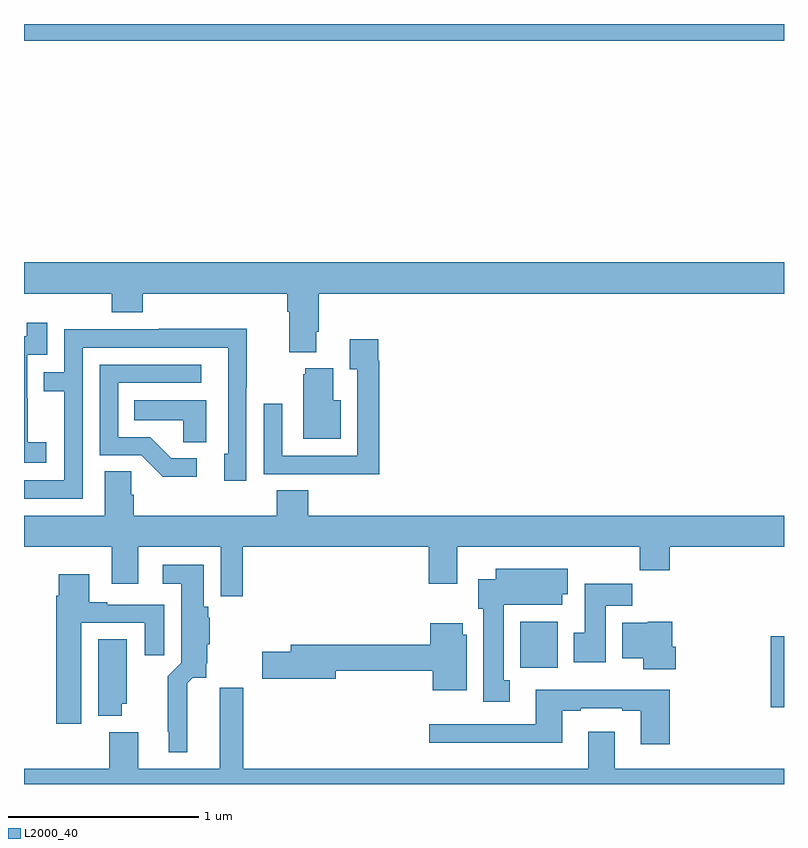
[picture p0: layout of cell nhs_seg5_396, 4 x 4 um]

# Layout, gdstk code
import gdstk
lib = gdstk.Library(unit=1e-6, precision=1e-09)
def R(c, l, rs):  # rectangles x0, y0, x1, y1
    for r in rs: c.add(gdstk.rectangle(r[:2], r[2:], *l))
def P(c, l, *ps):  # polygons
    for p in ps: c.add(gdstk.Polygon(p, *l))
L2000_40 = (2000, 40)

nhs_seg5_396 = lib.new_cell('nhs_seg5_396')
R(nhs_seg5_396, L2000_40, [(138.929,901.203,139,901.576), (137.612,901.412,137.809,901.654), (135,904.712,139,904.799)])
P(nhs_seg5_396, L2000_40, [(136.537,903.178),(136.55,903.178),(136.55,903.38),(139,903.38),(139,903.544),(135,903.544),(135,903.38),(135.461,903.38),(135.461,903.281),(135.626,903.281),(135.626,903.38),(136.385,903.38),(136.385,903.284),(136.397,903.284),(136.397,903.071),(136.537,903.071)],
  [(135.118,902.599),(135.02,902.599),(135.02,902.828),(135.018,902.828),(135.018,903.057),(135.123,903.057),(135.123,903.226),(135.015,903.226),(135.015,903.156),(135,903.156),(135,902.489),(135.118,902.489)],
  [(135.309,903.096),(136.074,903.096),(136.074,902.538),(136.055,902.538),(136.055,902.394),(136.17,902.394),(136.17,902.887),(136.173,902.887),(136.173,903.194),(135.709,903.194),(135.709,903.192),(135.213,903.192),(135.213,902.967),(135.103,902.967),(135.103,902.866),(135.213,902.866),(135.213,902.397),(135,902.397),(135,902.301),(135.309,902.301)],
  [(136.871,903.026),(136.864,903.026),(136.864,903.139),(136.715,903.139),(136.715,902.983),(136.755,902.983),(136.755,902.526),(136.359,902.526),(136.359,902.8),(136.263,902.8),(136.263,902.43),(136.579,902.43),(136.579,902.429),(136.871,902.429)],
  [(135.91,902.514),(135.775,902.514),(135.664,902.625),(135.495,902.625),(135.495,902.91),(135.934,902.91),(135.934,903.006),(135.399,903.006),(135.399,902.529),(135.618,902.529),(135.731,902.417),(135.91,902.417)],
  [(136.666,902.818),(136.627,902.818),(136.627,902.986),(136.481,902.986),(136.481,902.955),(136.469,902.955),(136.469,902.615),(136.666,902.615)],
  [(135.958,902.818),(135.58,902.818),(135.58,902.714),(135.837,902.714),(135.837,902.599),(135.958,902.599)],
  [(136.151,902.048),(137.129,902.048),(137.129,901.854),(137.281,901.854),(137.281,902.048),(138.241,902.048),(138.241,901.924),(138.398,901.924),(138.398,902.048),(139,902.048),(139,902.212),(136.496,902.212),(136.496,902.345),(136.331,902.345),(136.331,902.212),(135.578,902.212),(135.578,902.321),(135.564,902.321),(135.564,902.444),(135.425,902.444),(135.425,902.212),(135,902.212),(135,902.048),(135.461,902.048),(135.461,901.854),(135.601,901.854),(135.601,902.048),(136.035,902.048),(136.035,901.788),(136.151,901.788)],
  [(135.859,901.328),(135.889,901.359),(135.958,901.359),(135.958,901.429),(135.964,901.435),(135.964,901.534),(135.977,901.534),(135.977,901.674),(135.971,901.674),(135.971,901.731),(135.946,901.731),(135.946,901.954),(135.729,901.954),(135.729,901.853),(135.827,901.853),(135.827,901.436),(135.757,901.366),(135.757,901.075),(135.761,901.075),(135.761,900.965),(135.859,900.965)],
  [(137.557,901.346),(137.524,901.346),(137.524,901.742),(137.833,901.742),(137.833,901.799),(137.863,901.799),(137.863,901.933),(137.483,901.933),(137.483,901.876),(137.39,901.876),(137.39,901.722),(137.417,901.722),(137.417,901.233),(137.557,901.233)],
  [(135.301,901.647),(135.635,901.647),(135.635,901.476),(135.739,901.476),(135.739,901.743),(135.439,901.743),(135.439,901.756),(135.343,901.756),(135.343,901.903),(135.182,901.903),(135.182,901.79),(135.17,901.79),(135.17,901.116),(135.301,901.116)],
  [(138.061,901.736),(138.2,901.736),(138.2,901.854),(137.951,901.854),(137.951,901.596),(137.894,901.596),(137.894,901.44),(138.061,901.44)],
  [(138.431,901.521),(138.413,901.521),(138.413,901.654),(138.282,901.654),(138.282,901.648),(138.149,901.648),(138.149,901.46),(138.26,901.46),(138.26,901.403),(138.431,901.403)],
  [(137.329,901.584),(137.308,901.584),(137.308,901.645),(137.138,901.645),(137.138,901.532),(136.403,901.532),(136.403,901.496),(136.254,901.496),(136.254,901.354),(136.642,901.354),(136.642,901.396),(137.15,901.396),(137.15,901.292),(137.329,901.292)],
  [(135.514,901.221),(135.541,901.221),(135.541,901.562),(135.392,901.562),(135.392,901.157),(135.514,901.157)],
  [(137.969,900.88),(136.154,900.88),(136.154,901.306),(136.031,901.306),(136.031,900.88),(135.601,900.88),(135.601,901.072),(135.449,901.072),(135.449,900.88),(135,900.88),(135,900.799),(139,900.799),(139,900.88),(138.109,900.88),(138.109,901.075),(137.969,901.075)],
  [(138.398,901.294),(137.693,901.294),(137.693,901.113),(137.133,901.113),(137.133,901.016),(137.833,901.016),(137.833,901.185),(137.929,901.185),(137.929,901.197),(138.149,901.197),(138.149,901.185),(138.245,901.185),(138.245,901.008),(138.398,901.008)])

lib.write_gds('nhs_seg5_396.gds')
